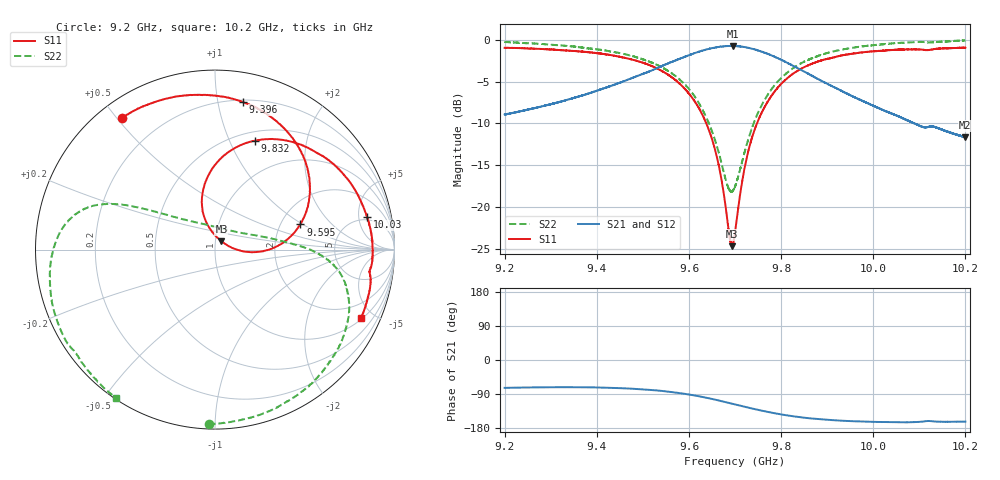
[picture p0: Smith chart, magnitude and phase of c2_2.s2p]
!Agilent Technologies,N5242A,MY51221714,A.09.90.19
!Agilent N5242A: A.09.90.19
!Date: Saturday, March 16, 2024 09:43:16
!Correction: S11(Full 2 Port(1,2))
!S21(Full 2 Port(1,2))
!S12(Full 2 Port(1,2))
!S22(Full 2 Port(1,2))
!S2P File: Measurements: S11, S21, S12, S22:
# Hz S  dB  R 50
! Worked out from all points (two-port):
!   16001 points, 9.2 GHz to 10.2 GHz, reference 50 ohm
!   highest |S21| = -0.70 dB at 9.695 GHz (marker M1); lowest = -11.7 dB at 10.2 GHz (marker M2)
!   |S21| within 3 dB of the highest: 9.517 GHz to 9.847 GHz (330.7 MHz wide, 3.42 % of centre); 9.847491 GHz to 9.847596 GHz (104.3 kHz wide, 0.00106 % of centre)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
!   lowest |S11| = -24.7 dB at 9.693 GHz (marker M3), VSWR 1.12, Z = 53.5 + j4.92 ohm
!   |S11| at or under -10 dB: 9.638 GHz to 9.748 GHz (109.7 MHz wide, 1.13 % of centre)
!   |S22| runs from -18.2 to -0.1 dB; largest |S21 - S12| = 0.012
!   S11 on the Smith chart (normalised r, x): 9.2 GHz: 0.07, +0.51; 9.396 GHz: 0.22, +1.18; 9.595 GHz: 2.56, +0.95; 9.832 GHz: 0.60, +1.24; 10.03 GHz: 4.49, +6.49; 10.2 GHz: 1.05, -4.22
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9.2e9  -0.94 125.5  -8.93 -73.5  -8.92 -74.2  -0.23 -92.1
9.27775e9  -1.07 107.9  -7.99 -72.2  -7.97 -72.7  -0.47 -70.6
9.366688e9  -1.39 86.8  -6.68 -72.0  -6.65 -72.6  -0.89 -47.2
9.395688e9  -1.55 79.4  -6.17 -72.4  -6.15 -73.0  -1.09 -39.9
9.463938e9  -2.17 60.6  -4.83 -75.0  -4.82 -75.5  -1.75 -24.1
9.533375e9  -3.48 38.8  -3.31 -80.7  -3.29 -81.2  -3.04 -10.2
9.594938e9  -6.09 16.4  -1.94 -90.1  -1.91 -90.7  -5.56 0.1
9.651938e9  -12.22 -2.8  -0.95 -103.2  -0.95 -103.8  -11.22 15.2
9.693375e9  -24.70 51.9  -0.71 -115.0  -0.69 -115.7  -18.14 80.0
9.694688e9  -24.48 57.9  -0.70 -115.5  -0.69 -116.1  -18.10 83.8
9.7e9  -23.11 81.5  -0.73 -117.1  -0.70 -117.7  -17.60 97.5
9.721375e9  -15.18 108.1  -0.85 -123.5  -0.84 -124.1  -13.31 131.8
9.74575e9  -10.26 103.6  -1.18 -130.3  -1.16 -131.0  -9.25 145.1
9.78425e9  -6.31 88.8  -1.97 -140.1  -1.96 -140.8  -5.54 152.6
9.8325e9  -3.80 70.0  -3.27 -149.4  -3.26 -150.1  -3.14 159.0
9.866688e9  -2.85 57.9  -4.28 -154.4  -4.27 -154.9  -2.20 163.8
9.949062e9  -1.68 32.7  -6.58 -161.1  -6.58 -161.8  -0.99 178.2
1.002869e10  -1.24 12.0  -8.57 -163.8  -8.56 -164.4  -0.47 -164.9
1.003338e10  -1.23 10.8  -8.67 -163.8  -8.67 -164.4  -0.44 -163.8
1.01055e10  -1.15 -6.1  -10.38 -162.7  -10.37 -163.3  -0.23 -147.5
1.019962e10  -0.94 -25.1  -11.66 -162.6  -11.65 -163.3  -0.06 -123.7
1.02e10  -0.92 -25.2  -11.66 -162.7  -11.65 -163.4  -0.06 -123.6
